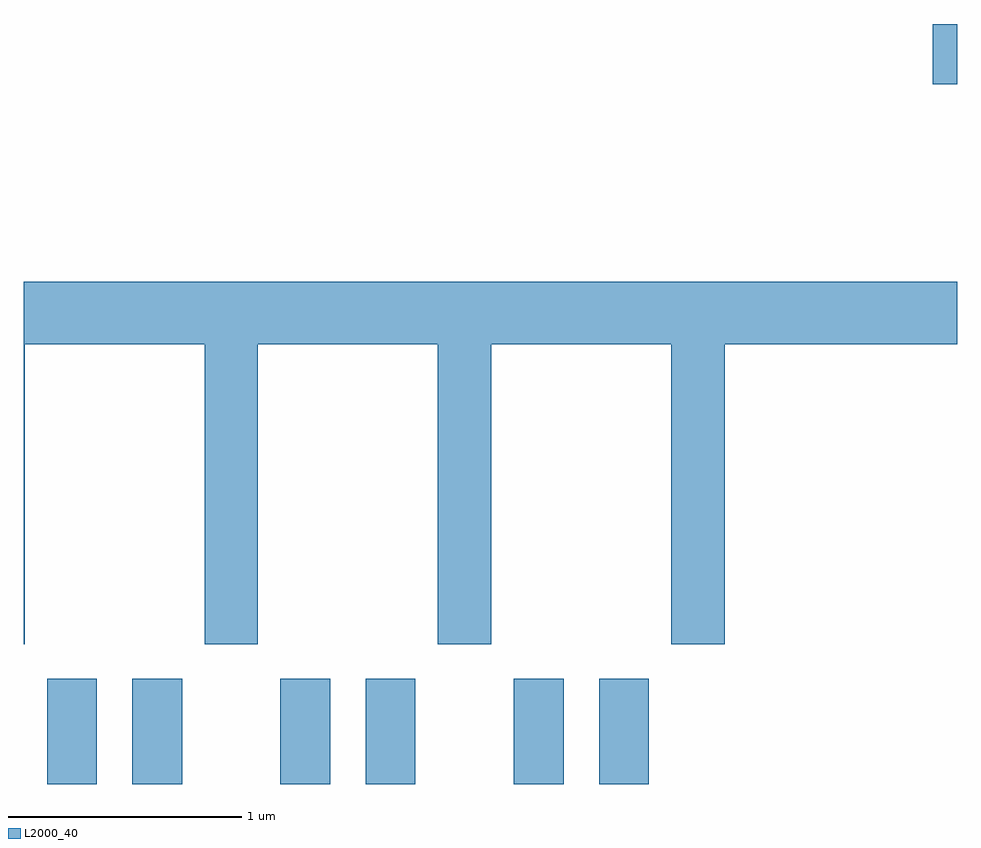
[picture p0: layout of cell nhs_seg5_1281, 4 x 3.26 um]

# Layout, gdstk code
import gdstk
lib = gdstk.Library(unit=1e-6, precision=1e-09)
def R(c, l, rs):  # rectangles x0, y0, x1, y1
    for r in rs: c.add(gdstk.rectangle(r[:2], r[2:], *l))
def P(c, l, *ps):  # polygons
    for p in ps: c.add(gdstk.Polygon(p, *l))
L2000_40 = (2000, 40)

nhs_seg5_1281 = lib.new_cell('nhs_seg5_1281')
R(nhs_seg5_1281, L2000_40, [(223.711,1406.072,223.924,1406.524), (224.076,1406.072,224.289,1406.524), (224.711,1406.072,224.924,1406.524), (225.076,1406.072,225.289,1406.524), (225.711,1406.072,225.924,1406.524), (226.076,1406.072,226.289,1406.524), (227.506,1409.071,227.611,1409.329)])
P(nhs_seg5_1281, L2000_40, [(223.614,1407.956),(224.386,1407.956),(224.386,1406.671),(224.614,1406.671),(224.614,1407.956),(225.386,1407.956),(225.386,1406.671),(225.614,1406.671),(225.614,1407.956),(226.386,1407.956),(226.386,1406.671),(226.614,1406.671),(226.614,1407.956),(227.611,1407.956),(227.611,1408.224),(223.611,1408.224),(223.611,1406.671),(223.614,1406.671)])

lib.write_gds('nhs_seg5_1281.gds')
